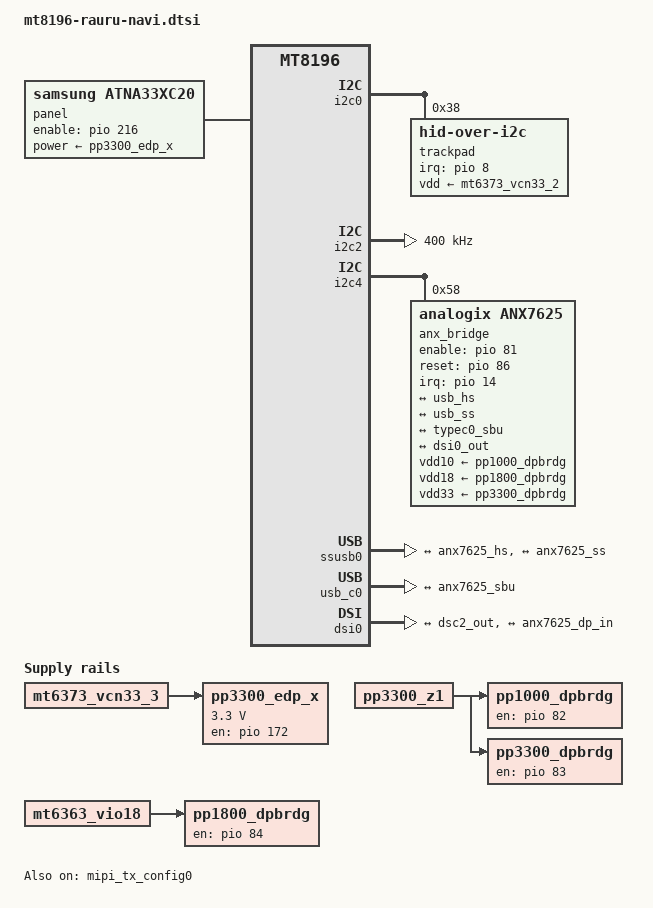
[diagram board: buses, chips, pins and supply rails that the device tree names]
// SPDX-License-Identifier: (GPL-2.0 OR MIT)
/*
 * Copyright (C) 2024 Google LLC
 * Copyright (C) 2025 Collabora Ltd.
 */

/dts-v1/;
#include "mt8196-rauru.dtsi"
#include <dt-bindings/thermal/thermal.h>

/ {
	pp3300_edp_x: regulator-pp3300-edp-x {
		compatible = "regulator-fixed";
		regulator-name = "pp3300_edp_x";
		regulator-min-microvolt = <3300000>;
		regulator-max-microvolt = <3300000>;
		enable-active-high;
		gpio = <&pio 172 GPIO_ACTIVE_HIGH>;
		pinctrl-names = "default";
		pinctrl-0 = <&pp3300_edp_pin>;
		vin-supply = <&mt6373_vcn33_3>;
	};

	pp1000_dpbrdg: regulator-pp1000-dpbrdg {
		compatible = "regulator-fixed";
		regulator-name = "pp1000_dpbrdg";
		pinctrl-names = "default";
		pinctrl-0 = <&pp1000_dpbrdg_pin>;
		enable-active-high;
		regulator-boot-on;
		gpio = <&pio 82 GPIO_ACTIVE_HIGH>;
		vin-supply = <&pp3300_z1>;
	};

	pp1800_dpbrdg: regulator-pp1800-dpbrdg-dx {
		compatible = "regulator-fixed";
		regulator-name = "pp1800_dpbrdg_dx";
		pinctrl-names = "default";
		pinctrl-0 = <&pp1800_dpbrdg_pin>;
		enable-active-high;
		regulator-boot-on;
		gpio = <&pio 84 GPIO_ACTIVE_HIGH>;
		vin-supply = <&mt6363_vio18>;
	};

	pp3300_dpbrdg: regulator-pp3300-dp-dx {
		compatible = "regulator-fixed";
		regulator-name = "pp3300_dpbrdg";
		pinctrl-names = "default";
		pinctrl-0 = <&pp3300_dpbrdg_pin>;
		enable-active-high;
		regulator-boot-on;
		gpio = <&pio 83 GPIO_ACTIVE_HIGH>;
		vin-supply = <&pp3300_z1>;
	};
};

&i2c0 {
	/* focal trackpad */
	trackpad@38 {
		compatible = "hid-over-i2c";
		reg = <0x38>;
		hid-descr-addr = <0x0020>;
		interrupts-extended = <&pio 8 IRQ_TYPE_LEVEL_LOW>;
		vdd-supply = <&mt6373_vcn33_2>;
		wakeup-source;
	};
};

&i2c2 {
	clock-frequency = <400000>;
	pinctrl-names = "default";
	pinctrl-0 = <&i2c2_pins>;

	touchscreen: touchscreen@14 {
		compatible = "goodix,gt7986u", "goodix,gt7375p";
		reg = <0x14>;
		interrupts-extended = <&pio 7 IRQ_TYPE_LEVEL_LOW>;
		pinctrl-names = "default";
		pinctrl-0 = <&touchscreen_pins>;
		reset-gpios = <&pio 31 GPIO_ACTIVE_LOW>;
		vdd-supply = <&mt6373_vtp>;
		status = "disabled";
	};
};

&i2c4 {
	anx_bridge: anx7625@58 {
		compatible = "analogix,anx7625";
		reg = <0x58>;
		pinctrl-names = "default";
		pinctrl-0 = <&anx7625_pins>;
		enable-gpios = <&pio 81 GPIO_ACTIVE_HIGH>;
		reset-gpios = <&pio 86 GPIO_ACTIVE_HIGH>;
		interrupts-extended = <&pio 14 IRQ_TYPE_LEVEL_LOW>;
		vdd10-supply = <&pp1000_dpbrdg>;
		vdd18-supply = <&pp1800_dpbrdg>;
		vdd33-supply = <&pp3300_dpbrdg>;
		analogix,audio-enable;
		#sound-dai-cells = <0>;

		connector {
			compatible = "usb-c-connector";
			power-role = "dual";
			data-role = "dual";
			vbus-supply = <&pp5000_usb>;

			ports {
				#address-cells = <1>;
				#size-cells = <0>;

				port@0 {
					reg = <0>;
					anx7625_hs: endpoint {
						remote-endpoint = <&usb_hs>;
					};
				};

				port@1 {
					reg = <1>;
					anx7625_ss: endpoint {
						remote-endpoint = <&usb_ss>;
					};
				};

				port@2 {
					reg = <2>;
					anx7625_sbu: endpoint {
						remote-endpoint = <&typec0_sbu>;
					};
				};
			};
		};

		ports {
			#address-cells = <1>;
			#size-cells = <0>;

			port@0 {
				reg = <0>;

				anx7625_dp_in: endpoint {
					data-lanes = <0 1 2 3>;
					remote-endpoint = <&dsi0_out>;
				};
			};

		};
	};
};

&ssusb0 {
	ports {
		#address-cells = <1>;
		#size-cells = <0>;

		port@0 {
			reg = <0>;
			usb_hs: endpoint {
				remote-endpoint = <&anx7625_hs>;
			};
		};

		port@1 {
			reg = <1>;
			usb_ss: endpoint {
				remote-endpoint = <&anx7625_ss>;
			};
		};
	};
};

&usb_c0 {
	ports {
		#address-cells = <1>;
		#size-cells = <0>;

		port@1 {
			reg = <1>;

			typec0_sbu: endpoint {
				remote-endpoint = <&anx7625_sbu>;
			};
		};
	};
};

&dsc2_out {
	remote-endpoint = <&dsi0_in>;
};

&dsi0 {
	status = "okay";

	ports {
		#address-cells = <1>;
		#size-cells = <0>;

		port@0 {
			#address-cells = <1>;
			#size-cells = <0>;
			reg = <0>;

			dsi0_in: endpoint@3 {
				reg = <3>;
				remote-endpoint = <&dsc2_out>;
			};
		};

		port@1 {
			reg = <1>;
			dsi0_out: endpoint {
				remote-endpoint = <&anx7625_dp_in>;
			};
		};
	};
};

&mipi_tx_config0 {
	status = "okay";
};

&backlight {
	status = "disabled";
};

&panel {
	compatible = "samsung,atna33xc20";
	enable-gpios = <&pio 216 GPIO_ACTIVE_HIGH>;
	power-supply = <&pp3300_edp_x>;
	/delete-property/ backlight;
};

&thermal_zones {
	bulk-board-thermal {
		polling-delay = <1000>;
		polling-delay-passive = <1000>;
		thermal-sensors = <&cros_ec 0>;
		sustainable-power = <3350>; /* estimated sustainable power when saturated */

		trips {
			bulk_threshold: trip-point@0 {
				temperature = <40000>; /* switch on temperature */
				hysteresis = <2000>;
				type = "passive";
			};
			bulk_target: trip-point@1 {
				temperature = <50000>; /* desired temperature */
				hysteresis = <2000>;
				type = "passive";
			};
		};

		cooling-maps {
			map0 {
				trip = <&bulk_target>;
				cooling-device =
					<&cpu0 THERMAL_NO_LIMIT THERMAL_NO_LIMIT>,
					<&cpu1 THERMAL_NO_LIMIT THERMAL_NO_LIMIT>,
					<&cpu2 THERMAL_NO_LIMIT THERMAL_NO_LIMIT>,
					<&cpu3 THERMAL_NO_LIMIT THERMAL_NO_LIMIT>;
				contribution = <2048>;
			};
			map1 {
				trip = <&bulk_target>;
				cooling-device =
					<&cpu4 THERMAL_NO_LIMIT THERMAL_NO_LIMIT>,
					<&cpu5 THERMAL_NO_LIMIT THERMAL_NO_LIMIT>,
					<&cpu6 THERMAL_NO_LIMIT THERMAL_NO_LIMIT>;
				contribution = <1024>;
			};
			map2 {
				trip = <&bulk_target>;
				cooling-device =
					<&cpu7 THERMAL_NO_LIMIT THERMAL_NO_LIMIT>;
				contribution = <768>;
			};
			map3 {
				trip = <&bulk_target>;
				cooling-device =
					<&gpu THERMAL_NO_LIMIT THERMAL_NO_LIMIT>;
				contribution = <1024>;
			};
		};
	};

	cpu-board-thermal {
		polling-delay = <0>;
		polling-delay-passive = <0>;
		thermal-sensors = <&cros_ec 1>;

		trips {
			cpu_board_trip0: trip-point@0 {
				temperature = <80000>;
				hysteresis = <2000>;
				type = "hot";
			};
		};
	};

	charger-thermal {
		polling-delay = <0>;
		polling-delay-passive = <0>;
		thermal-sensors = <&cros_ec 2>;

		trips {
			charger_trip0: trip-point@0 {
				temperature = <80000>;
				hysteresis = <2000>;
				type = "hot";
			};
		};
	};
};

&keyboard_controller {
	function-row-physmap = <
		MATRIX_KEY(0x00, 0x02, 0)		/* T1 */
		MATRIX_KEY(0x03, 0x02, 0)		/* T2 */
		MATRIX_KEY(0x02, 0x02, 0)		/* T3 */
		MATRIX_KEY(0x01, 0x02, 0)		/* T4 */
		MATRIX_KEY(0x04, 0x04, 0)		/* T5 */
		MATRIX_KEY(0x02, 0x04, 0)		/* T6 */
		MATRIX_KEY(0x01, 0x04, 0)		/* T7 */
		MATRIX_KEY(0x02, 0x0b, 0)		/* T8 */
		MATRIX_KEY(0x01, 0x09, 0)		/* T9 */
		MATRIX_KEY(0x00, 0x04, 0)		/* T10 */
		MATRIX_KEY(0x00, 0x01, 0)		/* T11 */
		MATRIX_KEY(0x01, 0x05, 0)		/* T12 */
		MATRIX_KEY(0x03, 0x05, 0)		/* T13 */
		MATRIX_KEY(0x00, 0x0b, 0)		/* T14 */
	>;

	keypad,num-columns = <18>;

	linux,keymap = <
		CROS_TOP_ROW_KEYMAP_V30
		CROS_MAIN_KEYMAP_V30

		MATRIX_KEY(0x00, 0x02, KEY_BACK)		/* T1 */
		MATRIX_KEY(0x03, 0x02, KEY_REFRESH)		/* T2 */
		MATRIX_KEY(0x02, 0x02, KEY_ZOOM)		/* T3 */
		MATRIX_KEY(0x01, 0x02, KEY_SCALE)		/* T4 */
		MATRIX_KEY(0x04, 0x04, KEY_SYSRQ)		/* T5 */
		MATRIX_KEY(0x02, 0x04, KEY_BRIGHTNESSDOWN)	/* T6 */
		MATRIX_KEY(0x01, 0x04, KEY_BRIGHTNESSUP)	/* T7 */
		MATRIX_KEY(0x02, 0x0b, KEY_KBDILLUMTOGGLE)	/* T8 */
		MATRIX_KEY(0x01, 0x09, KEY_MICMUTE)		/* T9 */
		MATRIX_KEY(0x00, 0x04, KEY_MUTE)		/* T10 */
		MATRIX_KEY(0x00, 0x01, KEY_VOLUMEDOWN)		/* T11 */
		MATRIX_KEY(0x01, 0x05, KEY_VOLUMEUP)		/* T12 */
		MATRIX_KEY(0x03, 0x05, KEY_ACCESSIBILITY)	/* T13 */
		MATRIX_KEY(0x00, 0x0b, KEY_DICTATE)		/* T14 */
	>;
};

&pio {
	anx7625_pins: anx7625-pins {
		pins-bus {
			pinmux = <PINMUX_GPIO81__FUNC_GPIO81>,
				 <PINMUX_GPIO86__FUNC_GPIO86>;
			output-low;
		};

		pins-in {
			pinmux = <PINMUX_GPIO14__FUNC_GPIO14>;
			input-enable;
			bias-pull-up;
		};
	};

	pp3300_edp_pin: pp3300-edp-pins {
		pins-en {
			pinmux = <PINMUX_GPIO172__FUNC_GPIO172>;
			output-high;
		};
	};

	pp1000_dpbrdg_pin: pp1000-dpbrdg-pins {
		pins-en {
			pinmux = <PINMUX_GPIO82__FUNC_GPIO82>;
			output-low;
		};
	};

	pp1800_dpbrdg_pin: pp1800-dpbrdg-pins {
		pins-en {
			pinmux = <PINMUX_GPIO84__FUNC_GPIO84>;
			output-low;
		};
	};

	pp3300_dpbrdg_pin: en-pp3300-dpbrdg-pins {
		pins-en {
			pinmux = <PINMUX_GPIO83__FUNC_GPIO83>;
			output-low;
		};
	};
};
